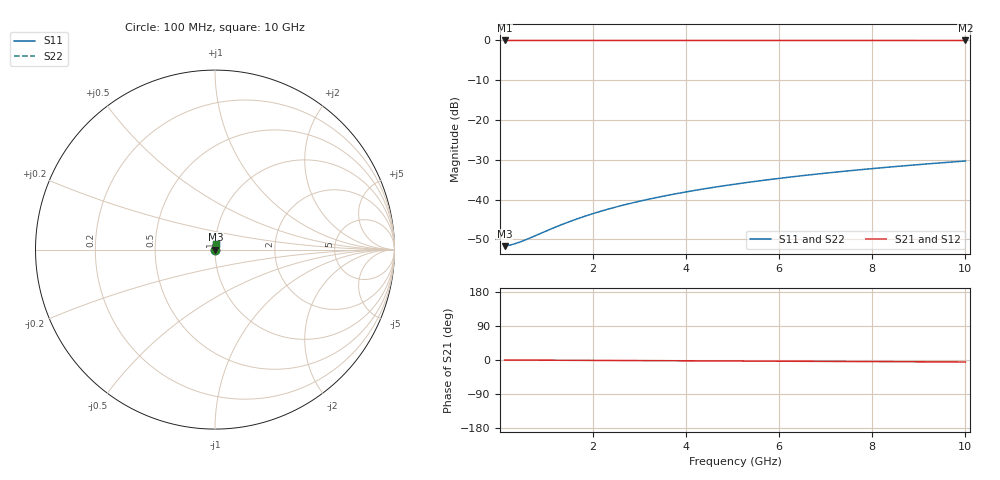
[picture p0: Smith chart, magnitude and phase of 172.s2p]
# Hz S RI R 50.00
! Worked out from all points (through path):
!   100 points, 100 MHz to 10 GHz, reference 50 ohm
!   highest |S21| = -0.02 dB at 100 MHz (marker M1); lowest = 0.0 dB at 10 GHz (marker M2)
!   lowest |S11| = -51.7 dB at 100 MHz (marker M3), VSWR 1.01, Z = 50.3 + j0.0303 ohm
!   |S11| at or under -10 dB: start of sweep to end of sweep
!   |S22| runs from -51.7 to -30.3 dB; largest |S21 - S12| = 0
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1e8  0.00257 0.000302  0.9974 -0.000917  0.9974 -0.000917  0.00257 0.000302
2e8  0.00259 0.000603  0.9974 -0.00183  0.9974 -0.00183  0.00259 0.000603
3e8  0.00261 0.000905  0.9974 -0.00275  0.9974 -0.00275  0.00261 0.000905
5e8  0.00263 0.00151  0.9974 -0.00458  0.9974 -0.00458  0.00263 0.00151
1.1e9  0.00269 0.00332  0.9973 -0.0101  0.9973 -0.0101  0.00269 0.00332
1.3e9  0.00271 0.00392  0.9972 -0.0119  0.9972 -0.0119  0.00271 0.00392
1.5e9  0.00274 0.00452  0.9972 -0.0137  0.9972 -0.0137  0.00274 0.00452
1.8e9  0.00277 0.00543  0.9972 -0.0165  0.9972 -0.0165  0.00277 0.00543
2.1e9  0.00282 0.00633  0.9971 -0.0192  0.9971 -0.0192  0.00282 0.00633
2.5e9  0.00288 0.00753  0.997 -0.0229  0.997 -0.0229  0.00288 0.00753
2.9e9  0.00295 0.00874  0.9969 -0.0266  0.9969 -0.0266  0.00295 0.00874
3.4e9  0.00305 0.0102  0.9967 -0.0312  0.9967 -0.0312  0.00305 0.0102
3.8e9  0.00314 0.0114  0.9966 -0.0348  0.9966 -0.0348  0.00314 0.0114
4.2e9  0.00324 0.0126  0.9964 -0.0385  0.9964 -0.0385  0.00324 0.0126
4.6e9  0.00334 0.0138  0.9962 -0.0421  0.9962 -0.0421  0.00334 0.0138
5.1e9  0.00349 0.0153  0.996 -0.0467  0.996 -0.0467  0.00349 0.0153
5.9e9  0.00375 0.0177  0.9956 -0.054  0.9956 -0.054  0.00375 0.0177
6.7e9  0.00404 0.0201  0.9951 -0.0614  0.9951 -0.0614  0.00404 0.0201
7.5e9  0.00437 0.0225  0.9945 -0.0687  0.9945 -0.0687  0.00437 0.0225
8.4e9  0.00479 0.0252  0.9938 -0.0769  0.9938 -0.0769  0.00479 0.0252
9.2e9  0.00519 0.0276  0.9931 -0.0842  0.9931 -0.0842  0.00519 0.0276
1e10  0.00563 0.03  0.9924 -0.0915  0.9924 -0.0915  0.00563 0.03
